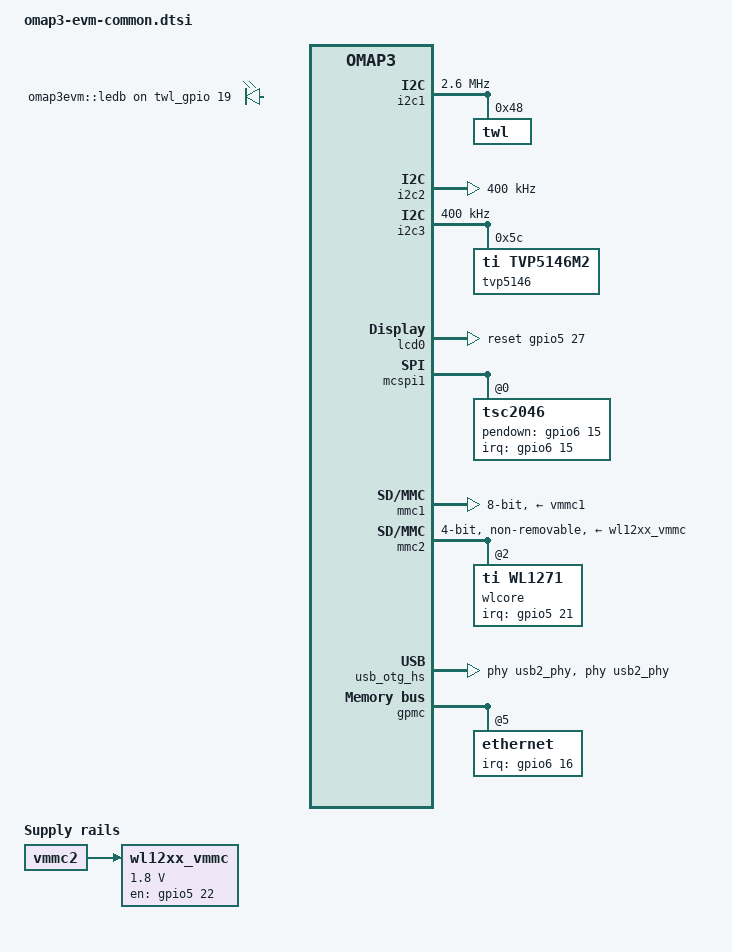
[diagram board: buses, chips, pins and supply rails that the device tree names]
/*
 * Common support for omap3 EVM boards
 */

#include <dt-bindings/input/input.h>
#include "omap-gpmc-smsc911x.dtsi"

/ {
	cpus {
		cpu@0 {
			cpu0-supply = <&vcc>;
		};
	};

	leds {
		compatible = "gpio-leds";
		ledb {
			label = "omap3evm::ledb";
			gpios = <&twl_gpio 19 GPIO_ACTIVE_HIGH>; /* LEDB */
			linux,default-trigger = "default-on";
		};
	};

	wl12xx_vmmc: wl12xx_vmmc {
		compatible = "regulator-fixed";
		regulator-name = "vwl1271";
		regulator-min-microvolt = <1800000>;
		regulator-max-microvolt = <1800000>;
		gpio = <&gpio5 22 GPIO_ACTIVE_HIGH>;	/* gpio150 */
		startup-delay-us = <70000>;
		enable-active-high;
		vin-supply = <&vmmc2>;
	};
};

&i2c1 {
	clock-frequency = <2600000>;

	twl: twl@48 {
		reg = <0x48>;
		interrupts = <7>; /* SYS_NIRQ cascaded to intc */
		interrupt-parent = <&intc>;
	};
};

#include "twl4030.dtsi"
#include "twl4030_omap3.dtsi"
#include "omap3-panel-sharp-ls037v7dw01.dtsi"

&backlight0 {
	gpios = <&twl_gpio 18 GPIO_ACTIVE_LOW>;
};

&twl {
	twl_power: power {
		compatible = "ti,twl4030-power-omap3-evm", "ti,twl4030-power-idle";
		ti,use_poweroff;
	};
};

&i2c2 {
	clock-frequency = <400000>;
};

&i2c3 {
	clock-frequency = <400000>;

	/*
	 * TVP5146 Video decoder-in for analog input support.
	 */
	tvp5146@5c {
		compatible = "ti,tvp5146m2";
		reg = <0x5c>;
	};
};

&lcd_3v3 {
	gpio = <&gpio5 25 GPIO_ACTIVE_LOW>;	/* gpio153 */
	enable-active-low;
};

&lcd0 {
	enable-gpios = <&gpio5 24 GPIO_ACTIVE_HIGH>;	/* gpio152, lcd INI */
	reset-gpios = <&gpio5 27 GPIO_ACTIVE_HIGH>;	/* gpio155, lcd RESB */
	mode-gpios = <&gpio5 26 GPIO_ACTIVE_HIGH	/* gpio154, lcd MO */
		      &gpio1 2 GPIO_ACTIVE_HIGH		/* gpio2, lcd LR */
		      &gpio1 3 GPIO_ACTIVE_HIGH>;	/* gpio3, lcd UD */
};

&mcspi1 {
	tsc2046@0 {
		interrupt-parent = <&gpio6>;
		interrupts = <15 0>;		/* gpio175 */
		pendown-gpio = <&gpio6 15 GPIO_ACTIVE_HIGH>;
	};
};

&mmc1 {
	interrupts-extended = <&intc 83 &omap3_pmx_core 0x11a>;
	vmmc-supply = <&vmmc1>;
	vmmc_aux-supply = <&vsim>;
	bus-width = <8>;
};

&mmc2 {
	vmmc-supply = <&wl12xx_vmmc>;
	non-removable;
	bus-width = <4>;
	cap-power-off-card;

	#address-cells = <1>;
	#size-cells = <0>;
	wlcore: wlcore@2 {
		compatible = "ti,wl1271";
		reg = <2>;
		interrupt-parent = <&gpio5>;
		interrupts = <21 IRQ_TYPE_LEVEL_HIGH>; /* gpio 149 */
		ref-clock-frequency = <38400000>;
	};
};

&twl_gpio {
	ti,use-leds;
};

&twl_keypad {
	linux,keymap = <
			MATRIX_KEY(2, 2, KEY_1)
			MATRIX_KEY(1, 1, KEY_2)
			MATRIX_KEY(0, 0, KEY_3)
			MATRIX_KEY(3, 2, KEY_4)
			MATRIX_KEY(2, 1, KEY_5)
			MATRIX_KEY(1, 0, KEY_6)
			MATRIX_KEY(1, 3, KEY_7)
			MATRIX_KEY(3, 1, KEY_8)
			MATRIX_KEY(2, 0, KEY_9)
			MATRIX_KEY(2, 3, KEY_KPASTERISK)
			MATRIX_KEY(0, 2, KEY_0)
			MATRIX_KEY(3, 0, KEY_KPDOT)
			/* s4 not wired */
			MATRIX_KEY(1, 2, KEY_BACKSPACE)
			MATRIX_KEY(0, 1, KEY_ENTER)
			>;
};

&usb_otg_hs {
	interface-type = <0>;
	usb-phy = <&usb2_phy>;
	phys = <&usb2_phy>;
	phy-names = "usb2-phy";
	mode = <3>;
	power = <50>;
};

&gpmc {
	ethernet@gpmc {
		interrupt-parent = <&gpio6>;
		interrupts = <16 8>;
		reg = <5 0 0xff>;
	};
};
